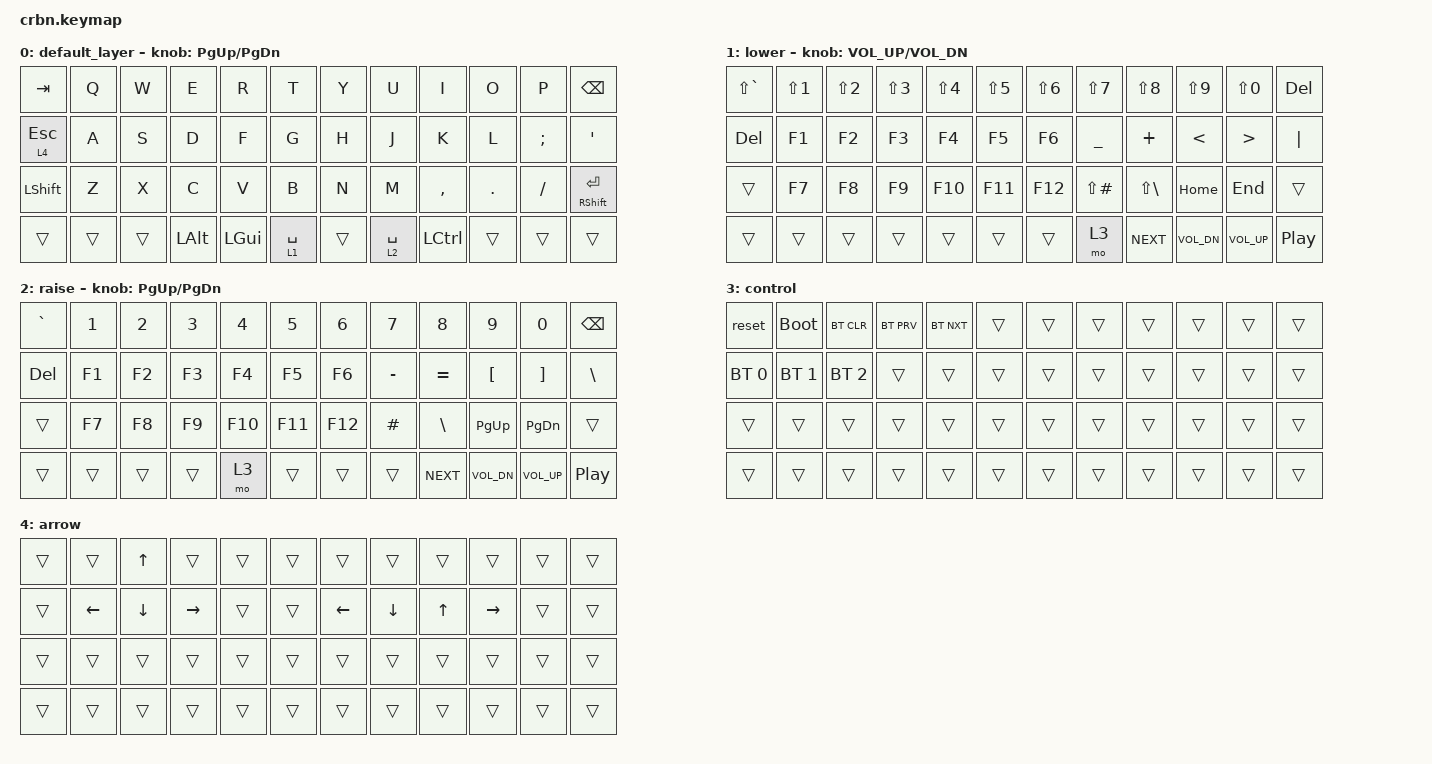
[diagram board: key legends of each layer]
/*
 * Copyright (c) 2020 The ZMK Contributors
 *
 * SPDX-License-Identifier: MIT
 */

#include <behaviors.dtsi>
#include <dt-bindings/zmk/keys.h>
#include <dt-bindings/zmk/bt.h>

/ {
	
	keymap {
		compatible = "zmk,keymap";

		default_layer {
			// ------------------------------------------------------------------------------------------
			// |  TAB  |  Q   |  W   |  E   |  R   |  T   |   Y   |  U    |  I   |  O   |   P   | BSPC  |
			// |  ESC  |  A   |  S   |  D   |  F   |  G   |   H   |  J    |  K   |  L   |   ;   |  '    |
			// | SHIFT |  Z   |  X   |  C   |  V   |  B   |   N   |  M    |  ,   |  .   |   /   |  RET  |
			// |       | LCTL | LALT | LGUI | LOWR |     SPACE    |  RAIS | LARW | DARW | UARW  |  RARW |
			bindings = <
				&kp TAB &kp Q &kp W &kp E &kp R &kp T &kp Y &kp U &kp I &kp O &kp P &kp BSPC
				&lt 4 ESC &kp A &kp S &kp D	&kp F &kp G &kp H &kp J &kp K &kp L &kp SEMI &kp SQT
				&kp LSHFT &kp Z &kp X &kp C &kp V &kp B &kp N &kp M &kp COMMA &kp DOT &kp FSLH &mt RSHFT RET
				&trans &trans &trans &kp LALT &kp LGUI &lt 1 SPACE &trans &lt 2 SPACE &kp LCTRL	&trans &trans &trans
			>;

			sensor-bindings = <&inc_dec_kp PG_UP PG_DN>;
		};

		lower {
			bindings = <
				&kp LS(GRAVE) &kp LS(N1) &kp LS(N2) &kp LS(N3) &kp LS(N4) &kp LS(N5) &kp LS(N6) &kp LS(N7) &kp LS(N8) &kp LS(N9) &kp LS(N0) &kp DEL
				&kp DEL &kp F1 &kp F2 &kp F3 &kp F4 &kp F5 &kp F6 &kp UNDER &kp PLUS &kp LT &kp GT &kp PIPE
				&trans &kp F7 &kp F8 &kp F9 &kp F10 &kp F11 &kp F12 &kp LS(HASH) &kp LS(BSLH) &kp HOME &kp END &trans
				&trans &trans &trans &trans &trans &trans &trans &mo 3 &kp C_NEXT &kp C_VOL_DN &kp C_VOL_UP &kp C_PP
			>;

			sensor-bindings = <&inc_dec_kp C_VOL_UP C_VOL_DN>;
		};

		raise {
			bindings = <
				&kp GRAVE &kp N1 &kp N2 &kp N3 &kp N4 &kp N5 &kp N6 &kp N7 &kp N8 &kp N9 &kp N0 &kp BSPC
				&kp DEL &kp F1 &kp F2 &kp F3 &kp F4 &kp F5 &kp F6 &kp MINUS &kp EQUAL &kp LBKT &kp RBKT &kp BSLH
				&trans &kp F7 &kp F8 &kp F9 &kp F10 &kp F11 &kp F12 &kp HASH &kp BSLH &kp PG_UP &kp PG_DN &trans
				&trans &trans &trans &trans &mo 3 &trans &trans &trans &kp C_NEXT &kp C_VOL_DN &kp C_VOL_UP &kp C_PP
			>;

			sensor-bindings = <&inc_dec_kp PG_UP PG_DN>;
		};

		control {
			bindings = <
				&reset &bootloader &bt BT_CLR &bt BT_PRV &bt BT_NXT &trans &trans &trans &trans &trans &trans &trans
				&bt BT_SEL 0 &bt BT_SEL 1 &bt BT_SEL 2 &trans &trans &trans &trans &trans &trans &trans &trans &trans
				&trans &trans &trans &trans &trans &trans &trans &trans &trans &trans &trans &trans
				&trans &trans &trans &trans &trans &trans &trans &trans &trans &trans &trans &trans
			>;
		};

		arrow {
			bindings = <
				&trans &trans   &kp UP       &trans &trans &trans &trans &trans &trans &trans &trans &trans
        		&trans &kp LEFT &kp DOWN &kp RIGHT  &trans &trans &kp LEFT &kp DOWN &kp UP &kp RIGHT &trans &trans
        		&trans &trans   &trans       &trans &trans &trans &trans &trans &trans &trans &trans &trans
        		&trans &trans   &trans       &trans &trans &trans &trans &trans &trans &trans &trans &trans
      >;
		};
		

		
	};
};
